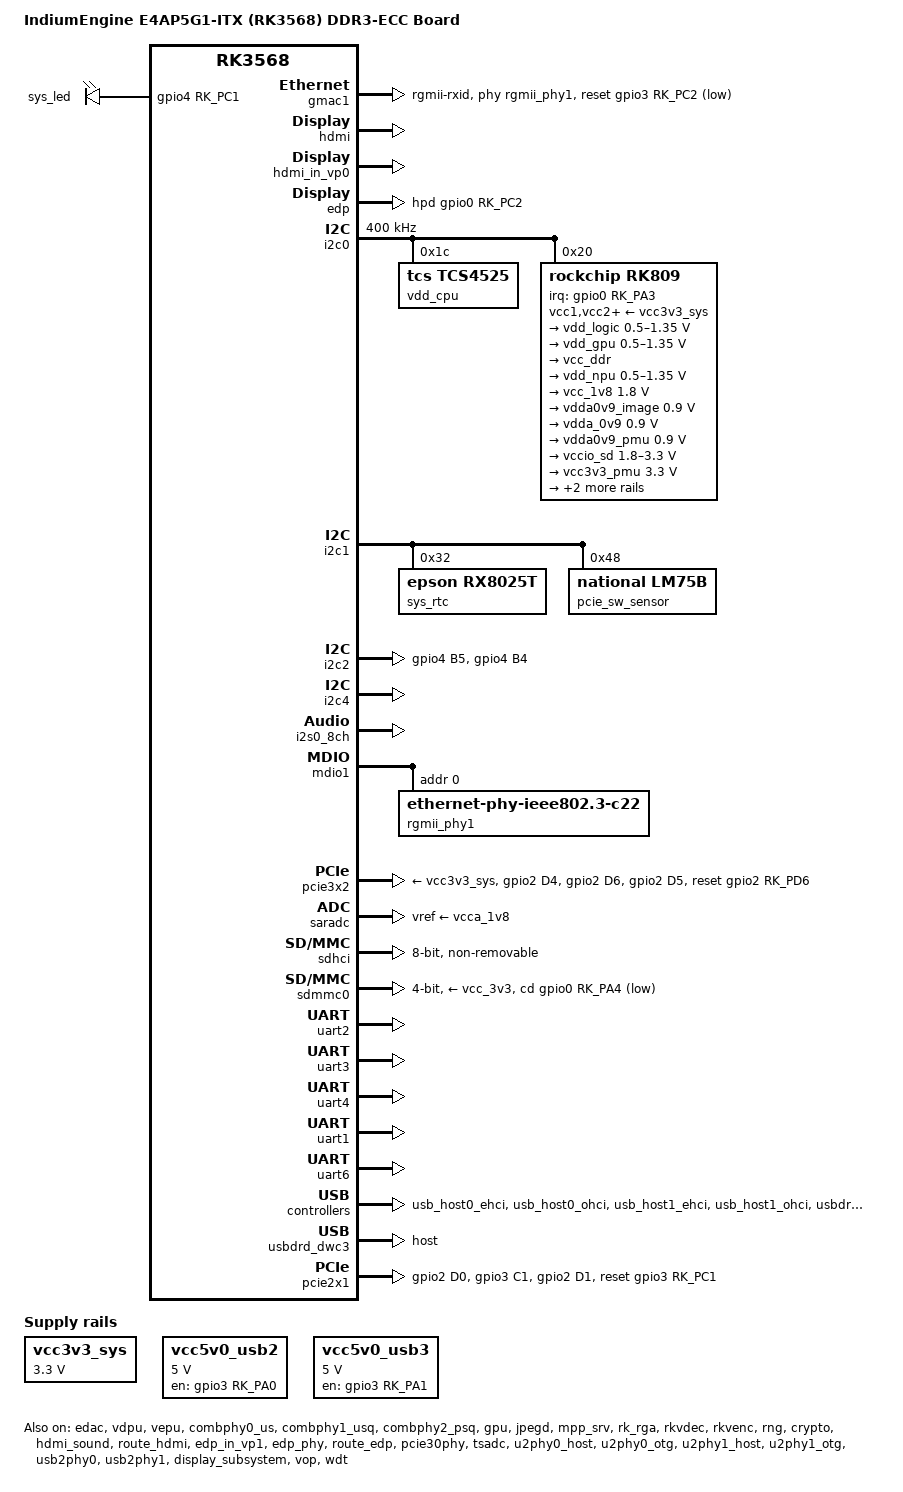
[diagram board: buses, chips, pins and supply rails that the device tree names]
// SPDX-License-Identifier: (GPL-2.0+ OR MIT)
/* 
 * IndiumEngine Co.Ltd 2024-2025
 * for E4AP5G1-ITX Lite-server motherboard
 * Author: Jack.Pan (2320025806@qq.com)
 */

/dts-v1/;
#include <dt-bindings/gpio/gpio.h>
#include <dt-bindings/leds/common.h>
#include <dt-bindings/pinctrl/rockchip.h>
#include <dt-bindings/display/rockchip_vop.h>
#include <dt-bindings/soc/rockchip,vop2.h>
#include "rk3568.dtsi"

/ {
	model = "IndiumEngine E4AP5G1-ITX (RK3568) DDR3-ECC Board";
	compatible = "rockchip,rk3568-e4ap5g1-itx", "rockchip,rk3568";

	aliases {
		ethernet1 = &gmac1;
		mmc0 = &sdmmc0;
	};

	chosen: chosen {
		stdout-path = "serial2:115200n8";
	};

	vcc3v3_sys: vcc3v3-sys-regulator {
		compatible = "regulator-fixed";
		regulator-name = "vcc3v3_sys";
		regulator-always-on;
		regulator-boot-on;
		regulator-min-microvolt = <3300000>;
		regulator-max-microvolt = <3300000>;
	};

	vcc5v0_usb2: vcc5v0-usb-regulator {
		compatible = "regulator-fixed";
		enable-active-high;
		gpio = <&gpio3 RK_PA0 GPIO_ACTIVE_HIGH>;
		regulator-boot-on;
		regulator-always-on;
		regulator-name = "vcc5v0_usb2";
		regulator-min-microvolt = <5000000>;
		regulator-max-microvolt = <5000000>;
	};

	vcc5v0_usb3: vcc5v0-usb-host-regulator {
		compatible = "regulator-fixed";
		enable-active-high;
		gpio = <&gpio3 RK_PA1 GPIO_ACTIVE_HIGH>;
		regulator-boot-on;
		regulator-always-on;
		regulator-name = "vcc5v0_usb3";
		regulator-min-microvolt = <5000000>;
		regulator-max-microvolt = <5000000>;
	};

	leds {
		compatible = "gpio-leds";
		pinctrl-names = "default";

		sys_led: led-0 {
			default-state = "off";
			function = LED_FUNCTION_STATUS;
			gpios = <&gpio4 RK_PC1 GPIO_ACTIVE_HIGH>;
		};
	};

};
&edac {
	status = "okay";
};

&cpu0 {
	cpu-supply = <&vdd_cpu>;
};

&vdpu {
	status = "okay";
};

&vdpu_mmu {
	status = "okay";
};

&vepu {
	status = "okay";
};

&vepu_mmu {
	status = "okay";
};

/*       combophy 设置为USB3+USB3+PCIE2x1*/
&combphy0_us {
    status = "okay";
};

&combphy1_usq {
	status = "okay";
};

&combphy2_psq {
	status = "okay";
};

&gmac1 {
	assigned-clocks = <&cru SCLK_GMAC1_RX_TX>, <&cru SCLK_GMAC1>;
	assigned-clock-parents = <&cru SCLK_GMAC1_RGMII_SPEED>;
	assign-clock-rate = <0>, <125000000>;

	clock_in_out = "output";
	phy-handle = <&rgmii_phy1>;
	phy-mode = "rgmii-rxid";
	pinctrl-names = "default";
	pinctrl-0 = <&gmac1m0_miim
		     &gmac1m0_tx_bus2
		     &gmac1m0_rx_bus2
		     &gmac1m0_rgmii_clk
		     &gmac1m0_rgmii_bus>;

	snps,reset-gpio = <&gpio3 RK_PC2 GPIO_ACTIVE_LOW>;
	snps,reset-active-low;
	/* Reset time is 20ms, 100ms for rtl8211f */
	snps,reset-delays-us = <0 20000 100000>;

	tx_delay = <0x3c>;
	//rx_delay = <0x2f>;

	status = "okay";
};

&gpu {
	mali-supply = <&vdd_gpu>;
	status = "okay";
	/*增加2行以适配panfrost驱动*/
	clock-names = "gpu", "bus";
	interrupt-names = "gpu", "mmu", "job";
};

&iep_mmu {
	status = "okay";
};

&jpegd {
	status = "okay";
};

&jpegd_mmu {
	status = "okay";
};

&mpp_srv {
	status = "okay";
};

&rk_rga {
	status = "okay";
};

&rkvdec {
	rockchip,disable-auto-freq;
	assigned-clock-rates = <396000000>, <396000000>, <396000000>, <600000000>;
	status = "okay";
};

&rkvdec_mmu {
	status = "okay";
};

&rkvenc {
	venc-supply = <&vdd_logic>;
	status = "okay";
};

&rkvenc_mmu {
	status = "okay";
};

&vdpu {
	status = "okay";
};

&vdpu_mmu {
	status = "okay";
};

&vepu {
	status = "okay";
};

&vepu_mmu {
	status = "okay";
};

&rng {
	status = "okay";
};

&crypto {
	status = "okay";
};

/*       hdmi display        */
&hdmi {
   status = "okay";
};

&hdmi_in_vp0 {
	status = "okay";
};

&hdmi_in_vp1 {
	status = "disabled";
};

&hdmi_sound {
	status = "okay";
};

&route_hdmi {
	status = "okay";
	connect = <&vp0_out_hdmi>;
};
/*     dp display     */
&edp{
	status = "okay";
	hpd-gpios = <&gpio0 RK_PC2 GPIO_ACTIVE_HIGH>;
};

&edp_in_vp0{
	status = "disabled";
};

&edp_in_vp1 {
	status = "okay";
};

&edp_phy{
	status = "okay";
};

&route_edp {
	connect = <&vp1_out_edp>;
	status = "okay";
};

&i2c0 {
	status = "okay";
	i2c-scl-rising-time-ns = <160>;
	i2c-scl-falling-time-ns = <30>;
	clock-frequency = <400000>;

	vdd_cpu: tcs4525@1c {
		compatible = "tcs,tcs4525";
		reg = <0x1c>;
		regulator-compatible = "fan53555-reg";
		regulator-name = "vdd_cpu";
		regulator-min-microvolt = <712500>;
		regulator-max-microvolt = <1390000>;
		regulator-init-microvolt = <900000>;
		regulator-ramp-delay = <2300>;
		fcs,suspend-voltage-selector = <1>;
		regulator-boot-on;
		regulator-always-on;
		regulator-state-mem {
			regulator-off-in-suspend;
		};
	};

	rk809: pmic@20 {
		compatible = "rockchip,rk809";
		reg = <0x20>;
		interrupt-parent = <&gpio0>;
		interrupts = <RK_PA3 IRQ_TYPE_LEVEL_LOW>;
		#clock-cells = <1>;
		pinctrl-names = "default";
		pinctrl-0 = <&pmic_int>;
		rockchip,system-power-controller;
		vcc1-supply = <&vcc3v3_sys>;
		vcc2-supply = <&vcc3v3_sys>;
		vcc3-supply = <&vcc3v3_sys>;
		vcc4-supply = <&vcc3v3_sys>;
		vcc5-supply = <&vcc3v3_sys>;
		vcc6-supply = <&vcc3v3_sys>;
		vcc7-supply = <&vcc3v3_sys>;
		vcc8-supply = <&vcc3v3_sys>;
		vcc9-supply = <&vcc3v3_sys>;
		wakeup-source;

		rtc {
			status = "disabled";
		};

		regulators {
			vdd_logic: DCDC_REG1 {
				regulator-name = "vdd_logic";
				regulator-always-on;
				regulator-boot-on;
				regulator-init-microvolt = <900000>;
				regulator-initial-mode = <0x2>;
				regulator-min-microvolt = <500000>;
				regulator-max-microvolt = <1350000>;
				regulator-ramp-delay = <6001>;

				regulator-state-mem {
					regulator-off-in-suspend;
				};
			};

			vdd_gpu: DCDC_REG2 {
				regulator-name = "vdd_gpu";
				regulator-always-on;
				regulator-init-microvolt = <900000>;
				regulator-initial-mode = <0x2>;
				regulator-min-microvolt = <500000>;
				regulator-max-microvolt = <1350000>;
				regulator-ramp-delay = <6001>;

				regulator-state-mem {
					regulator-off-in-suspend;
				};
			};

			vcc_ddr: DCDC_REG3 {
				regulator-name = "vcc_ddr";
				regulator-always-on;
				regulator-boot-on;
				regulator-initial-mode = <0x2>;

				regulator-state-mem {
					regulator-on-in-suspend;
				};
			};

			vdd_npu: DCDC_REG4 {
				regulator-name = "vdd_npu";
				regulator-init-microvolt = <900000>;
				regulator-initial-mode = <0x2>;
				regulator-min-microvolt = <500000>;
				regulator-max-microvolt = <1350000>;
				regulator-ramp-delay = <6001>;

				regulator-state-mem {
					regulator-off-in-suspend;
				};
			};

			vcc_1v8: DCDC_REG5 {
				regulator-name = "vcc_1v8";
				regulator-always-on;
				regulator-boot-on;
				regulator-min-microvolt = <1800000>;
				regulator-max-microvolt = <1800000>;

				regulator-state-mem {
					regulator-off-in-suspend;
				};
			};

			vdda0v9_image: LDO_REG1 {
				regulator-name = "vdda0v9_image";
				regulator-always-on;
				regulator-min-microvolt = <900000>;
				regulator-max-microvolt = <900000>;

				regulator-state-mem {
					regulator-off-in-suspend;
				};
			};

			vdda_0v9: LDO_REG2 {
				regulator-name = "vdda_0v9";
				regulator-always-on;
				regulator-boot-on;
				regulator-min-microvolt = <900000>;
				regulator-max-microvolt = <900000>;

				regulator-state-mem {
					regulator-off-in-suspend;
				};
			};

			vdda0v9_pmu: LDO_REG3 {
				regulator-name = "vdda0v9_pmu";
				regulator-always-on;
				regulator-boot-on;
				regulator-min-microvolt = <900000>;
				regulator-max-microvolt = <900000>;

				regulator-state-mem {
					regulator-on-in-suspend;
					regulator-suspend-microvolt = <900000>;
				};
			};

			vccio_sd: LDO_REG5 {
				regulator-name = "vccio_sd";
				regulator-always-on;
				regulator-boot-on;
				regulator-min-microvolt = <1800000>;
				regulator-max-microvolt = <3300000>;

				regulator-state-mem {
					regulator-off-in-suspend;
				};
			};

			vcc3v3_pmu: LDO_REG6 {
				regulator-always-on;
				regulator-boot-on;
				regulator-min-microvolt = <3300000>;
				regulator-max-microvolt = <3300000>;
				regulator-name = "vcc3v3_pmu";
				regulator-state-mem {
					regulator-on-in-suspend;
					regulator-suspend-microvolt = <3300000>;
				};
			};

			vcca_1v8: LDO_REG7 {
				regulator-name = "vcca_1v8";
				regulator-always-on;
				regulator-boot-on;
				regulator-min-microvolt = <1800000>;
				regulator-max-microvolt = <1800000>;

				regulator-state-mem {
					regulator-on-in-suspend;
					regulator-suspend-microvolt = <1800000>;
				};
			};

			vcc_3v3: SWITCH_REG1 {
				regulator-name = "vcc_3v3";
				regulator-always-on;
				regulator-boot-on;
				
				regulator-state-mem {
					regulator-on-in-suspend;
				};
			};
		};
	};
};

&i2c1 {
	status = "okay";


    sys_rtc: rx8025@32 {
        compatible = "epson,rx8025t";
        reg = <0x32>;
        status = "okay";
    };


	pcie_sw_sensor: lm75b@48{
		compatible = "national,lm75b";
		reg = <0x48>;
		status = "okay";
	};
};

&i2c2 {
    status = "okay";
    pinctrl-names = "default";
    pinctrl-0 = <&i2c2m1_xfer>;
};

&i2c4{
	status = "okay"; 
};

&i2s0_8ch {
	/* hdmi sound */
	status = "okay";
};

&mdio1 {
	rgmii_phy1: ethernet-phy@0 {
		compatible = "ethernet-phy-ieee802.3-c22";
		reg = <0x0>;
	};
};

&pcie30phy {
	status = "okay";
};

&pcie3x2 {
	pinctrl-names = "default";
	pinctrl-0 = <&pcie30x2m1_pins>;
	reset-gpios = <&gpio2 RK_PD6 GPIO_ACTIVE_HIGH>;
	//reset-gpios = <&gpio2 RK_PD7 GPIO_ACTIVE_LOW>;	//for test
	vpcie3v3-supply = <&vcc3v3_sys>;
	status = "okay";
};

&pinctrl {
	
	// PWM0 作为风扇调速输出
    pwm0 {
        pwm0_pin: pwm0-pin {
            rockchip,pins = <0 RK_PB5 1 &pcfg_pull_none>;
        };
    };

    // PWM1 作为风扇转速输入
    pwm1 {
        pwm1_pin: pwm1-pin {
            rockchip,pins = <0 RK_PB6 0 &pcfg_pull_none>;
        };
    };

    // PWM2 作为蜂鸣器输出
    pwm2 {
        pwm2_pin: pwm2-pin {
            rockchip,pins = <0 RK_PB7 1 &pcfg_pull_none>;
        };
    };
	

    i2c2 {
        /omit-if-no-ref/
        i2c2m1_xfer: i2c2m1-xfer {
            rockchip,pins =
                /* I2C2_SCL_M1 */
                <4 RK_PB5 2 &pcfg_pull_none>,
                /* I2C2_SDA_M1 */
                <4 RK_PB4 2 &pcfg_pull_none>;
        };
    };

	leds {
		sys_led_pins: sys_led_pins {
			rockchip,pins = <4 RK_PC1 RK_FUNC_GPIO &pcfg_pull_up>;
		};
	};

	pmic {
		pmic_int: pmic_int {
			rockchip,pins =
				<0 RK_PA3 RK_FUNC_GPIO &pcfg_pull_up>;
		};
	};

	pcie30x2 {
		pcie30x2m1_pins: pcie30x2m1-pins {
			rockchip,pins =
				<2 RK_PD4 4 &pcfg_pull_up>,
				<2 RK_PD6 RK_FUNC_GPIO &pcfg_pull_up>,
				<2 RK_PD5 4 &pcfg_pull_up>;
		};
	};

	pcie20 {
		pcie20m1_pins: pcie20m1-pins {
			rockchip,pins =
				<2 RK_PD0 4 &pcfg_pull_up>,
				<3 RK_PC1 RK_FUNC_GPIO &pcfg_pull_none>,
				<2 RK_PD1 4 &pcfg_pull_up>;
		};
	};

};

&pmu_io_domains {
	pmuio1-supply = <&vcc_3v3>;
	pmuio2-supply = <&vcc_3v3>;
	vccio1-supply = <&vcc_3v3>;
	vccio2-supply = <&vcc_1v8>;
	vccio3-supply = <&vccio_sd>;
	vccio4-supply = <&vcc_3v3>;
	vccio5-supply = <&vcc_3v3>;
	vccio6-supply = <&vcc_3v3>;
	vccio7-supply = <&vcc_3v3>;
	status = "okay";
};
/*
&pwm0 {
    status = "okay";
    pinctrl-names = "default";
    pinctrl-0 = <&pwm0_pin>;
    duty-cycle = <50>;
};

&pwm1 {
    status = "okay";
    pinctrl-names = "default";
    pinctrl-0 = <&pwm1_pin>;
    // 配置为 GPIO 输入模式（用于测速）
    rockchip,pwm-mode = <0>; // 0=GPIO, 1=PWM
};

&pwm2 {
    status = "okay";
    pinctrl-names = "default";
    pinctrl-0 = <&pwm2_pin>;
    duty-cycle = <0>;
};
*/
&saradc {
	vref-supply = <&vcca_1v8>;
	status = "okay";
};

&sdhci {
	bus-width = <8>;
	max-frequency = <200000000>;
	non-removable;
	pinctrl-names = "default";
	pinctrl-0 = <&emmc_bus8 &emmc_clk &emmc_cmd &emmc_datastrobe>;
	status = "okay";
};

&sdmmc0 {
	bus-width = <4>;
	cap-sd-highspeed;
	cd-gpios = <&gpio0 RK_PA4 GPIO_ACTIVE_LOW>;
	disable-wp;
	pinctrl-names = "default";
	pinctrl-0 = <&sdmmc0_bus4 &sdmmc0_clk &sdmmc0_cmd &sdmmc0_det>;
	sd-uhs-sdr104;
	vmmc-supply = <&vcc_3v3>;
	vqmmc-supply = <&vccio_sd>;
	status = "okay";
};

&spi3 {
	/* pin 19 (MO) + 21 (MI) + 23 (CK) of header con2 */
	/* shared with pwm12/14/15 and uart9 */
	pinctrl-0 = <&spi3m1_pins>;
	status = "disabled";
};

&tsadc {
	rockchip,hw-tshut-mode = <1>;
	rockchip,hw-tshut-polarity = <0>;
	status = "okay";
};

&uart2 {
	/* debug-uart */
	status = "okay";
};

/*    uart 3 4 6 1 in header    */
&uart3 {
	status = "okay";
};

&uart4 {
	status = "okay";
};

&uart1 {
	status = "okay";
};

&uart6 {
	status = "okay";
};

/*     启用usb2.0 phys     */
&u2phy0_host {
	status = "okay";
};

&u2phy0_otg {
	status = "okay";
};

&u2phy1_host {
	status = "okay";
};

&u2phy1_otg {
	status = "okay";
};

&usb2phy0 {
	status = "okay";
};

&usb2phy1 {
	status = "okay";
};

/*       启用usb2 usb3控制器         */

&usb_host0_ehci {
	status = "okay";
};

&usb_host0_ohci {
	status = "okay";
};

&usb_host1_ehci {
	status = "okay";
};

&usb_host1_ohci {
	status = "okay";
};

&usbdrd_dwc3 {
	dr_mode = "host";
	extcon = <&usb2phy0>;
	status = "okay";
};

&usbdrd30 {
	status = "okay";
};

&usbhost_dwc3 {
	status = "okay";
};

&usbhost30 {
	status = "okay";
};

/*     启用PCIE2x1       */
&pcie2x1 {
	status = "okay";
	pinctrl-names = "default";
	pinctrl-0 = <&pcie20m1_pins>;
	num-viewport = <4>;
	reset-gpios = <&gpio3 RK_PC1 GPIO_ACTIVE_HIGH>;
};


/*     vop子系统       */
&video_phy0 {
	status = "disabled";
};

&video_phy1 {
	status = "disabled";
};

&display_subsystem {
	status = "okay";
};

&vop {
	status = "okay";
	vop-supply = <&vdd_logic>;
	assigned-clocks = <&cru DCLK_VOP0>, <&cru DCLK_VOP1>, <&cru DCLK_VOP2>;
	assigned-clock-parents = <&pmucru PLL_HPLL>, <&cru PLL_VPLL>, <&cru PLL_GPLL>;
	support-multi-area;
};

&vop_mmu {
	status = "okay";
};

&vp0 {
	rockchip,plane-mask = <(
				1 << ROCKCHIP_VOP2_CLUSTER0 | 1 << ROCKCHIP_VOP2_ESMART0 |
				1 << ROCKCHIP_VOP2_CLUSTER1 | 1 << ROCKCHIP_VOP2_ESMART1 )>;
	rockchip,primary-plane = <ROCKCHIP_VOP2_ESMART0>;
	//cursor-win-id = <ROCKCHIP_VOP2_ESMART1>; 使用panfrost驱动时不能有这一行
};

&vp1 {
	rockchip,plane-mask = <(1 << ROCKCHIP_VOP2_SMART0 | 1 << ROCKCHIP_VOP2_SMART1)>;
	rockchip,primary-plane = <ROCKCHIP_VOP2_SMART0>;
};

&vp2 {
	status = "disabled";
};

&wdt {
	status = "okay";
};
